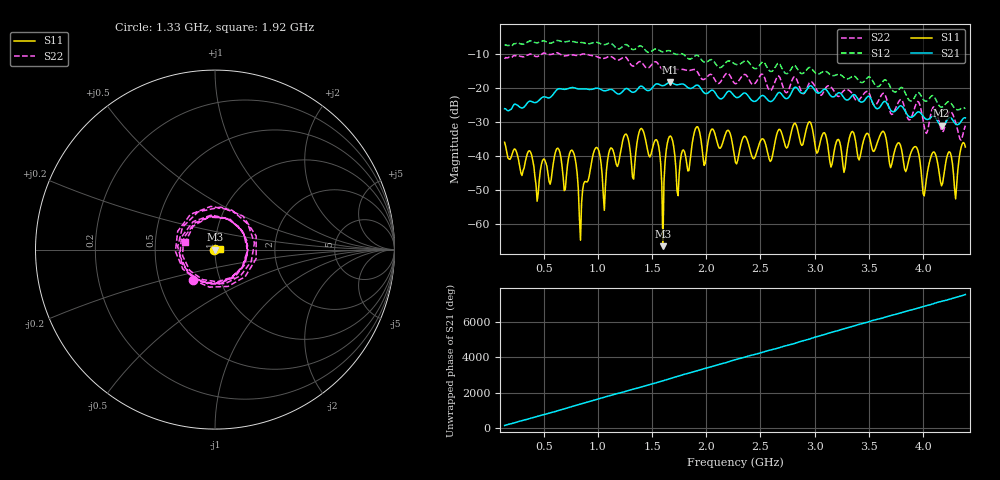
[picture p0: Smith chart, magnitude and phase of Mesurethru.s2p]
!Created with skrf (http://scikit-rf.org).
# MHz S RI R 50.0
!freq ReS11 ImS11 ReS21 ImS21 ReS12 ImS12 ReS22 ImS22
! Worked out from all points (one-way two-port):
!   426 points, 140 MHz to 4.39 GHz, reference 50 ohm
!   highest |S21| = -18.38 dB at 1.67 GHz (marker M1); lowest = -31.2 dB at 4.17 GHz (marker M2)
!   lowest |S11| = -66.5 dB at 1.6 GHz (marker M3), VSWR 1.00, Z = 50 - j0.00246 ohm
!   |S11| at or under -10 dB: start of sweep to end of sweep
!   |S22| runs from -35.4 to -9.7 dB; largest |S21 - S12| = 0.5
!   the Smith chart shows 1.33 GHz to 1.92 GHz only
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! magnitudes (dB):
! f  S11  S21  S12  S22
! 140 MHz  -36.0  -26.1  -7.6  -11.5
! 380 MHz  -38.9  -23.9  -6.2  -10.1
! 440 MHz  -53.3  -24.1  -6.8  -10.8
! 760 MHz  -38.3  -19.9  -6.4  -10.3
! 850 MHz  -53.7  -20.4  -6.7  -10.2
! 980 MHz  -37.7  -20.1  -6.6  -10.7
! 1.06 GHz  -56.0  -20.9  -7.3  -11.3
! 1.25 GHz  -33.7  -20.4  -7.3  -10.9
! 1.32 GHz  -46.3  -21.3  -8.8  -13.6
! 1.4 GHz  -31.9  -19.5  -7.7  -12.4
! 1.56 GHz  -37.0  -18.9  -8.9  -13.1
! 1.6 GHz  -66.5  -19.4  -9.4  -14.7
! 1.67 GHz  -34.2  -18.4  -9.2  -14.0
! 1.74 GHz  -51.7  -19.1  -10.1  -14.6
! 1.91 GHz  -31.5  -19.2  -10.4  -15.0
! 2.27 GHz  -41.9  -22.7  -13.1  -18.8
! 2.98 GHz  -32.2  -19.8  -14.7  -18.5
! 3.27 GHz  -44.8  -22.9  -17.0  -20.8
! 3.63 GHz  -32.8  -24.3  -18.0  -21.6
! 3.69 GHz  -42.2  -25.9  -19.2  -26.5
! 4.17 GHz  -48.8  -31.2  -25.7  -32.6
! 4.39 GHz  -37.4  -28.8  -26.1  -31.1
